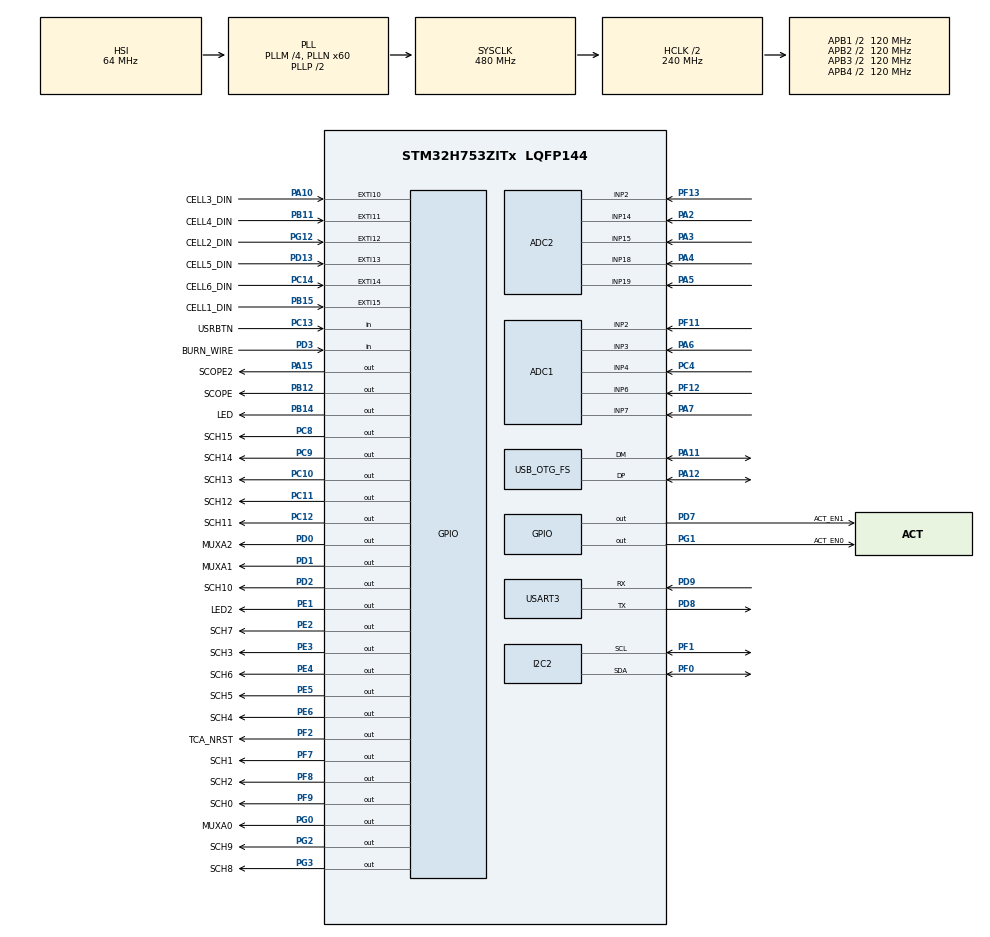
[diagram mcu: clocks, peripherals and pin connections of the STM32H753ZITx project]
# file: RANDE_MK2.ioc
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ADC1.Channel-5\#ChannelRegularConversion=ADC_CHANNEL_2
ADC1.Channel-6\#ChannelRegularConversion=ADC_CHANNEL_3
ADC1.Channel-7\#ChannelRegularConversion=ADC_CHANNEL_4
ADC1.Channel-8\#ChannelRegularConversion=ADC_CHANNEL_6
ADC1.Channel-9\#ChannelRegularConversion=ADC_CHANNEL_7
ADC1.ContinuousConvMode=ENABLE
ADC1.ConversionDataManagement=ADC_CONVERSIONDATA_DMA_CIRCULAR
ADC1.EOCSelection=ADC_EOC_SEQ_CONV
ADC1.NbrOfConversion=5
ADC1.NbrOfConversionFlag=1
ADC1.OffsetNumber-5\#ChannelRegularConversion=ADC_OFFSET_NONE
ADC1.OffsetNumber-6\#ChannelRegularConversion=ADC_OFFSET_NONE
ADC1.OffsetNumber-7\#ChannelRegularConversion=ADC_OFFSET_NONE
ADC1.OffsetNumber-8\#ChannelRegularConversion=ADC_OFFSET_NONE
ADC1.OffsetNumber-9\#ChannelRegularConversion=ADC_OFFSET_NONE
ADC1.OffsetSignedSaturation-5\#ChannelRegularConversion=DISABLE
ADC1.OffsetSignedSaturation-6\#ChannelRegularConversion=DISABLE
ADC1.OffsetSignedSaturation-7\#ChannelRegularConversion=DISABLE
ADC1.OffsetSignedSaturation-8\#ChannelRegularConversion=DISABLE
ADC1.OffsetSignedSaturation-9\#ChannelRegularConversion=DISABLE
ADC1.Rank-5\#ChannelRegularConversion=1
ADC1.Rank-6\#ChannelRegularConversion=2
ADC1.Rank-7\#ChannelRegularConversion=3
ADC1.Rank-8\#ChannelRegularConversion=4
ADC1.Rank-9\#ChannelRegularConversion=5
ADC1.SamplingTime-5\#ChannelRegularConversion=ADC_SAMPLETIME_810CYCLES_5
ADC1.SamplingTime-6\#ChannelRegularConversion=ADC_SAMPLETIME_810CYCLES_5
ADC1.SamplingTime-7\#ChannelRegularConversion=ADC_SAMPLETIME_810CYCLES_5
ADC1.SamplingTime-8\#ChannelRegularConversion=ADC_SAMPLETIME_810CYCLES_5
ADC1.SamplingTime-9\#ChannelRegularConversion=ADC_SAMPLETIME_810CYCLES_5
ADC1.master=1
ADC2.Channel-1\#ChannelRegularConversion=ADC_CHANNEL_2
ADC2.Channel-2\#ChannelRegularConversion=ADC_CHANNEL_14
ADC2.Channel-3\#ChannelRegularConversion=ADC_CHANNEL_15
ADC2.Channel-4\#ChannelRegularConversion=ADC_CHANNEL_18
ADC2.Channel-5\#ChannelRegularConversion=ADC_CHANNEL_19
ADC2.ClockPrescaler=ADC_CLOCK_ASYNC_DIV1
ADC2.ContinuousConvMode=ENABLE
ADC2.ConversionDataManagement=ADC_CONVERSIONDATA_DMA_CIRCULAR
ADC2.EOCSelection=ADC_EOC_SEQ_CONV
ADC2.NbrOfConversion=5
ADC2.NbrOfConversionFlag=1
ADC2.OffsetNumber-1\#ChannelRegularConversion=ADC_OFFSET_NONE
ADC2.OffsetNumber-2\#ChannelRegularConversion=ADC_OFFSET_NONE
ADC2.OffsetNumber-3\#ChannelRegularConversion=ADC_OFFSET_NONE
ADC2.OffsetNumber-4\#ChannelRegularConversion=ADC_OFFSET_NONE
ADC2.OffsetNumber-5\#ChannelRegularConversion=ADC_OFFSET_NONE
ADC2.OffsetSignedSaturation-1\#ChannelRegularConversion=DISABLE
ADC2.OffsetSignedSaturation-2\#ChannelRegularConversion=DISABLE
ADC2.OffsetSignedSaturation-3\#ChannelRegularConversion=DISABLE
ADC2.OffsetSignedSaturation-4\#ChannelRegularConversion=DISABLE
ADC2.OffsetSignedSaturation-5\#ChannelRegularConversion=DISABLE
ADC2.Rank-1\#ChannelRegularConversion=1
ADC2.Rank-2\#ChannelRegularConversion=2
ADC2.Rank-3\#ChannelRegularConversion=3
ADC2.Rank-4\#ChannelRegularConversion=4
ADC2.Rank-5\#ChannelRegularConversion=5
ADC2.SamplingTime-1\#ChannelRegularConversion=ADC_SAMPLETIME_810CYCLES_5
ADC2.SamplingTime-2\#ChannelRegularConversion=ADC_SAMPLETIME_810CYCLES_5
ADC2.SamplingTime-3\#ChannelRegularConversion=ADC_SAMPLETIME_810CYCLES_5
ADC2.SamplingTime-4\#ChannelRegularConversion=ADC_SAMPLETIME_810CYCLES_5
ADC2.SamplingTime-5\#ChannelRegularConversion=ADC_SAMPLETIME_810CYCLES_5
CORTEX_M7.AccessPermission_S-Cortex_Memory_Protection_Unit_Region1_Settings_S=MPU_REGION_FULL_ACCESS
CORTEX_M7.BaseAddress_S-Cortex_Memory_Protection_Unit_Region1_Settings_S=0x30000000
CORTEX_M7.CPU_DCache=Enabled
CORTEX_M7.CPU_ICache=Enabled
CORTEX_M7.DisableExec_S-Cortex_Memory_Protection_Unit_Region1_Settings_S=MPU_INSTRUCTION_ACCESS_DISABLE
CORTEX_M7.Enable_S-Cortex_Memory_Protection_Unit_Region1_Settings_S=MPU_REGION_ENABLE
CORTEX_M7.IsShareable_S-Cortex_Memory_Protection_Unit_Region1_Settings_S=MPU_ACCESS_SHAREABLE
CORTEX_M7.Size_S-Cortex_Memory_Protection_Unit_Region1_Settings_S=MPU_REGION_SIZE_512B
CORTEX_M7.default_mode_Activation=1
Dma.ADC1.1.Direction=DMA_PERIPH_TO_MEMORY
Dma.ADC1.1.EventEnable=DISABLE
Dma.ADC1.1.FIFOMode=DMA_FIFOMODE_DISABLE
Dma.ADC1.1.Instance=DMA1_Stream0
Dma.ADC1.1.MemDataAlignment=DMA_MDATAALIGN_WORD
Dma.ADC1.1.MemInc=DMA_MINC_ENABLE
Dma.ADC1.1.Mode=DMA_CIRCULAR
Dma.ADC1.1.PeriphDataAlignment=DMA_PDATAALIGN_WORD
Dma.ADC1.1.PeriphInc=DMA_PINC_DISABLE
Dma.ADC1.1.Polarity=HAL_DMAMUX_REQ_GEN_RISING
Dma.ADC1.1.Priority=DMA_PRIORITY_LOW
Dma.ADC1.1.RequestNumber=1
Dma.ADC1.1.SignalID=NONE
Dma.ADC1.1.SyncEnable=DISABLE
Dma.ADC1.1.SyncPolarity=HAL_DMAMUX_SYNC_NO_EVENT
Dma.ADC1.1.SyncRequestNumber=1
Dma.ADC1.1.SyncSignalID=NONE
Dma.ADC2.0.Direction=DMA_PERIPH_TO_MEMORY
Dma.ADC2.0.EventEnable=DISABLE
Dma.ADC2.0.FIFOMode=DMA_FIFOMODE_DISABLE
Dma.ADC2.0.Instance=DMA1_Stream1
Dma.ADC2.0.MemDataAlignment=DMA_MDATAALIGN_WORD
Dma.ADC2.0.MemInc=DMA_MINC_ENABLE
Dma.ADC2.0.Mode=DMA_CIRCULAR
Dma.ADC2.0.PeriphDataAlignment=DMA_PDATAALIGN_WORD
Dma.ADC2.0.PeriphInc=DMA_PINC_DISABLE
Dma.ADC2.0.Polarity=HAL_DMAMUX_REQ_GEN_RISING
Dma.ADC2.0.Priority=DMA_PRIORITY_LOW
Dma.ADC2.0.RequestNumber=1
Dma.ADC2.0.SignalID=NONE
Dma.ADC2.0.SyncEnable=DISABLE
Dma.ADC2.0.SyncPolarity=HAL_DMAMUX_SYNC_NO_EVENT
Dma.ADC2.0.SyncRequestNumber=1
Dma.ADC2.0.SyncSignalID=NONE
Dma.Request0=ADC2
Dma.Request1=ADC1
I2C2.Timing=0x307075B1
Mcu.Family=STM32H7
Mcu.Name=STM32H753ZITx
Mcu.Package=LQFP144
NVIC.DMA1_Stream0_IRQn=true\:0\:0\:false\:false\:true\:false\:true\:true
NVIC.DMA1_Stream1_IRQn=true\:0\:0\:false\:false\:true\:false\:true\:true
NVIC.EXTI15_10_IRQn=true\:0\:0\:false\:false\:true\:true\:true\:true
NVIC.OTG_FS_IRQn=true\:0\:0\:false\:false\:true\:true\:true\:true
NVIC.PriorityGroup=NVIC_PRIORITYGROUP_4
PA10.GPIO_Label=CELL3_DIN
PA10.Signal=GPXTI10
PA11.Mode=Host_Only
PA11.Signal=USB_OTG_FS_DM
PA12.Mode=Host_Only
PA12.Signal=USB_OTG_FS_DP
PA13\ (JTMS/SWDIO).Mode=Serial_Wire
PA13\ (JTMS/SWDIO).Signal=DEBUG_JTMS-SWDIO
PA14\ (JTCK/SWCLK).Mode=Serial_Wire
PA14\ (JTCK/SWCLK).Signal=DEBUG_JTCK-SWCLK
PA15\ (JTDI).GPIO_Label=SCOPE2
PA15\ (JTDI).Signal=GPIO_Output
PA2.Signal=ADCx_INP14
PA3.Signal=ADCx_INP15
PA4.Signal=ADCx_INP18
PA5.Signal=ADCx_INP19
PA6.Signal=ADCx_INP3
PA7.Signal=ADCx_INP7
PB11.GPIO_Label=CELL4_DIN
PB11.Signal=GPXTI11
PB12.GPIO_Label=SCOPE
PB12.Signal=GPIO_Output
PB14.GPIO_Label=LED
PB14.Signal=GPIO_Output
PB15.GPIO_Label=CELL1_DIN
PB15.GPIO_ModeDefaultEXTI=GPIO_MODE_IT_FALLING
PB15.Signal=GPXTI15
PC10.GPIO_Label=SCH13
PC10.Signal=GPIO_Output
PC11.GPIO_Label=SCH12
PC11.Signal=GPIO_Output
PC12.GPIO_Label=SCH11
PC12.Signal=GPIO_Output
PC13.GPIO_Label=USRBTN
PC13.Signal=GPIO_Input
PC14-OSC32_IN\ (OSC32_IN).GPIO_Label=CELL6_DIN
PC14-OSC32_IN\ (OSC32_IN).Signal=GPXTI14
PC4.Signal=ADCx_INP4
PC8.GPIO_Label=SCH15
PC8.Signal=GPIO_Output
PC9.GPIO_Label=SCH14
PC9.Signal=GPIO_Output
PD0.GPIO_Label=MUXA2
PD0.Signal=GPIO_Output
PD1.GPIO_Label=MUXA1
PD1.Signal=GPIO_Output
PD13.GPIO_Label=CELL5_DIN
PD13.Signal=GPXTI13
PD2.GPIO_Label=SCH10
PD2.Signal=GPIO_Output
PD3.GPIO_Label=BURN_WIRE
PD3.GPIO_PuPd=GPIO_PULLUP
PD3.Signal=GPIO_Input
PD7.GPIO_Label=ACT_EN1
PD7.Signal=GPIO_Output
PD8.Mode=Asynchronous
PD8.Signal=USART3_TX
PD9.Mode=Asynchronous
PD9.Signal=USART3_RX
PE1.GPIO_Label=LED2
PE1.Signal=GPIO_Output
PE2.GPIO_Label=SCH7
PE2.Signal=GPIO_Output
PE3.GPIO_Label=SCH3
PE3.Signal=GPIO_Output
PE4.GPIO_Label=SCH6
PE4.Signal=GPIO_Output
PE5.GPIO_Label=SCH5
PE5.Signal=GPIO_Output
PE6.GPIO_Label=SCH4
PE6.Signal=GPIO_Output
PF0.GPIO_Pu=GPIO_PULLUP
PF0.Mode=I2C
PF0.Signal=I2C2_SDA
PF1.GPIO_Pu=GPIO_PULLUP
PF1.Mode=I2C
PF1.Signal=I2C2_SCL
PF11.Mode=IN2-Single-Ended
PF11.Signal=ADC1_INP2
PF12.Mode=IN6-Single-Ended
PF12.Signal=ADC1_INP6
PF13.Mode=IN2-Single-Ended
PF13.Signal=ADC2_INP2
PF2.GPIO_Label=TCA_NRST
PF2.Signal=GPIO_Output
PF7.GPIO_Label=SCH1
PF7.Signal=GPIO_Output
PF8.GPIO_Label=SCH2
PF8.Signal=GPIO_Output
PF9.GPIO_Label=SCH0
PF9.Signal=GPIO_Output
PG0.GPIO_Label=MUXA0
PG0.Signal=GPIO_Output
PG1.GPIO_Label=ACT_EN0
PG1.Signal=GPIO_Output
PG12.GPIO_Label=CELL2_DIN
PG12.GPIO_ModeDefaultEXTI=GPIO_MODE_IT_FALLING
PG12.Signal=GPXTI12
PG2.GPIO_Label=SCH9
PG2.Signal=GPIO_Output
PG3.GPIO_Label=SCH8
PG3.Signal=GPIO_Output
ProjectManager.HeapSize=0x200
ProjectManager.StackSize=0x400
ProjectManager.TargetToolchain=CMake
RCC.ADCFreq_Value=100000000
RCC.APB1Freq_Value=120000000
RCC.APB2Freq_Value=120000000
RCC.APB3Freq_Value=120000000
RCC.APB4Freq_Value=120000000
RCC.CortexFreq_Value=480000000
RCC.D1PPRE=RCC_APB3_DIV2
RCC.D2PPRE1=RCC_APB1_DIV2
RCC.D2PPRE2=RCC_APB2_DIV2
RCC.D3PPRE=RCC_APB4_DIV2
RCC.DIVM1=4
RCC.DIVM2=4
RCC.DIVN1=60
RCC.DIVN2=25
RCC.DIVP2=4
RCC.DIVQ1=3
RCC.HCLKFreq_Value=240000000
RCC.HPRE=RCC_HCLK_DIV2
RCC.PLL2FRACN=0
RCC.PLLFRACN=0
RCC.SYSCLKFreq_VALUE=480000000
RCC.SYSCLKSource=RCC_SYSCLKSOURCE_PLLCLK
RCC.USBCLockSelection=RCC_USBCLKSOURCE_HSI48
RCC.USBFreq_Value=48000000
SH.ADCx_INP14.0=ADC2_INP14,IN14-Single-Ended
SH.ADCx_INP15.0=ADC2_INP15,IN15-Single-Ended
SH.ADCx_INP18.0=ADC2_INP18,IN18-Single-Ended
SH.ADCx_INP19.0=ADC2_INP19,IN19-Single-Ended
SH.ADCx_INP3.0=ADC1_INP3,IN3-Single-Ended
SH.ADCx_INP4.0=ADC1_INP4,IN4-Single-Ended
SH.ADCx_INP7.0=ADC1_INP7,IN7-Single-Ended
USART3.VirtualMode-Asynchronous=VM_ASYNC
USB_OTG_FS.VirtualMode=Host_Only
USB_OTG_FS.phy_itface=HCD_PHY_EMBEDDED
VP_MEMORYMAP_VS_MEMORYMAP.Mode=CurAppReg
board=custom

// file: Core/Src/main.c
/* USER CODE BEGIN Header */
/**
 ******************************************************************************
 * @file           : main.c
 * @brief          : Main program body
 ******************************************************************************
 * @attention
 *
 * Copyright (c) 2026 STMicroelectronics.
 * All rights reserved.
 *
 * This software is licensed under terms that can be found in the LICENSE file
 * in the root directory of this software component.
 * If no LICENSE file comes with this software, it is provided AS-IS.
 *
 ******************************************************************************
 */
/* USER CODE END Header */
#include "main.h"

/* USER CODE BEGIN Includes */
#include "tusb.h"
/* USER CODE END Includes */

/* USER CODE BEGIN PD */
#include <stdio.h>
/* USER CODE END PD */

ADC_HandleTypeDef hadc1;
ADC_HandleTypeDef hadc2;
DMA_HandleTypeDef hdma_adc1;
DMA_HandleTypeDef hdma_adc2;

I2C_HandleTypeDef hi2c2;

UART_HandleTypeDef huart3;

HCD_HandleTypeDef hhcd_USB_OTG_FS;

void SystemClock_Config(void);
void PeriphCommonClock_Config(void);
static void MPU_Config(void);
static void MX_GPIO_Init(void);
static void MX_DMA_Init(void);
static void MX_ADC1_Init(void);
static void MX_ADC2_Init(void);
static void MX_USART3_UART_Init(void);
static void MX_USB_OTG_FS_HCD_Init(void);
static void MX_I2C2_Init(void);

/* USER CODE BEGIN 0 */
// Redirect printf to the stlink uart for debugging
int __io_putchar(int cha) {
    uint8_t ch = cha;
    HAL_UART_Transmit(&huart3, &ch, 1, HAL_MAX_DELAY);
    return cha;
}
/* USER CODE END 0 */

int main(void) {

    /* MPU Configuration--------------------------------------------------------*/
    MPU_Config();

    /* Enable the CPU Cache */

    /* Enable I-Cache---------------------------------------------------------*/
    SCB_EnableICache();

    /* Enable D-Cache---------------------------------------------------------*/
    SCB_EnableDCache();

    /* MCU Configuration--------------------------------------------------------*/

    /* Reset of all peripherals, Initializes the Flash interface and the Systick. */
    HAL_Init();

    /* Configure the system clock */
    SystemClock_Config();

    /* Configure the peripherals common clocks */
    PeriphCommonClock_Config();

    /* Initialize all configured peripherals */
    MX_GPIO_Init();
    MX_DMA_Init();
    MX_ADC1_Init();
    MX_ADC2_Init();
    MX_USART3_UART_Init();
    MX_USB_OTG_FS_HCD_Init();
    MX_I2C2_Init();
    /* USER CODE BEGIN 2 */

    // Call the setup and loop functions in main.cpp to transition out of C and into the cpp environment
    setup();
    while(1) loop();
    /* USER CODE END 2 */

    /* Infinite loop */
    while(1) {

    }
}

void SystemClock_Config(void) {
    RCC_OscInitTypeDef RCC_OscInitStruct = {0};
    RCC_ClkInitTypeDef RCC_ClkInitStruct = {0};

    /** Supply configuration update enable
     */
    HAL_PWREx_ConfigSupply(PWR_LDO_SUPPLY);

    /** Configure the main internal regulator output voltage
     */
    __HAL_PWR_VOLTAGESCALING_CONFIG(PWR_REGULATOR_VOLTAGE_SCALE0);

    while(!__HAL_PWR_GET_FLAG(PWR_FLAG_VOSRDY)) {}

    /** Initializes the RCC Oscillators according to the specified parameters
     * in the RCC_OscInitTypeDef structure.
     */
    RCC_OscInitStruct.OscillatorType = RCC_OSCILLATORTYPE_HSI48 | RCC_OSCILLATORTYPE_HSI;
    RCC_OscInitStruct.HSIState = RCC_HSI_DIV1;
    RCC_OscInitStruct.HSICalibrationValue = RCC_HSICALIBRATION_DEFAULT;
    RCC_OscInitStruct.HSI48State = RCC_HSI48_ON;
    RCC_OscInitStruct.PLL.PLLState = RCC_PLL_ON;
    RCC_OscInitStruct.PLL.PLLSource = RCC_PLLSOURCE_HSI;
    RCC_OscInitStruct.PLL.PLLM = 4;
    RCC_OscInitStruct.PLL.PLLN = 60;
    RCC_OscInitStruct.PLL.PLLP = 2;
    RCC_OscInitStruct.PLL.PLLQ = 3;
    RCC_OscInitStruct.PLL.PLLR = 2;
    RCC_OscInitStruct.PLL.PLLRGE = RCC_PLL1VCIRANGE_3;
    RCC_OscInitStruct.PLL.PLLVCOSEL = RCC_PLL1VCOWIDE;
    RCC_OscInitStruct.PLL.PLLFRACN = 0;
    if(HAL_RCC_OscConfig(&RCC_OscInitStruct) != HAL_OK) {
        Error_Handler();
    }

    /** Initializes the CPU, AHB and APB buses clocks
     */
    RCC_ClkInitStruct.ClockType = RCC_CLOCKTYPE_HCLK | RCC_CLOCKTYPE_SYSCLK | RCC_CLOCKTYPE_PCLK1 |
        RCC_CLOCKTYPE_PCLK2 | RCC_CLOCKTYPE_D3PCLK1 | RCC_CLOCKTYPE_D1PCLK1;
    RCC_ClkInitStruct.SYSCLKSource = RCC_SYSCLKSOURCE_PLLCLK;
    RCC_ClkInitStruct.SYSCLKDivider = RCC_SYSCLK_DIV1;
    RCC_ClkInitStruct.AHBCLKDivider = RCC_HCLK_DIV2;
    RCC_ClkInitStruct.APB3CLKDivider = RCC_APB3_DIV2;
    RCC_ClkInitStruct.APB1CLKDivider = RCC_APB1_DIV2;
    RCC_ClkInitStruct.APB2CLKDivider = RCC_APB2_DIV2;
    RCC_ClkInitStruct.APB4CLKDivider = RCC_APB4_DIV2;

    if(HAL_RCC_ClockConfig(&RCC_ClkInitStruct, FLASH_LATENCY_4) != HAL_OK) {
        Error_Handler();
    }
}

void PeriphCommonClock_Config(void) {
    RCC_PeriphCLKInitTypeDef PeriphClkInitStruct = {0};

    /** Initializes the peripherals clock
     */
    PeriphClkInitStruct.PeriphClockSelection = RCC_PERIPHCLK_ADC;
    PeriphClkInitStruct.PLL2.PLL2M = 4;
    PeriphClkInitStruct.PLL2.PLL2N = 25;
    PeriphClkInitStruct.PLL2.PLL2P = 4;
    PeriphClkInitStruct.PLL2.PLL2Q = 2;
    PeriphClkInitStruct.PLL2.PLL2R = 2;
    PeriphClkInitStruct.PLL2.PLL2RGE = RCC_PLL2VCIRANGE_3;
    PeriphClkInitStruct.PLL2.PLL2VCOSEL = RCC_PLL2VCOWIDE;
    PeriphClkInitStruct.PLL2.PLL2FRACN = 0;
    PeriphClkInitStruct.AdcClockSelection = RCC_ADCCLKSOURCE_PLL2;
    if(HAL_RCCEx_PeriphCLKConfig(&PeriphClkInitStruct) != HAL_OK) {
        Error_Handler();
    }
}

static void MX_ADC1_Init(void) {

    ADC_MultiModeTypeDef multimode = {0};
    ADC_ChannelConfTypeDef sConfig = {0};

    /** Common config
     */
    hadc1.Instance = ADC1;
    hadc1.Init.ClockPrescaler = ADC_CLOCK_ASYNC_DIV1;
    hadc1.Init.Resolution = ADC_RESOLUTION_16B;
    hadc1.Init.ScanConvMode = ADC_SCAN_ENABLE;
    hadc1.Init.EOCSelection = ADC_EOC_SEQ_CONV;
    hadc1.Init.LowPowerAutoWait = DISABLE;
    hadc1.Init.ContinuousConvMode = ENABLE;
    hadc1.Init.NbrOfConversion = 5;
    hadc1.Init.DiscontinuousConvMode = DISABLE;
    hadc1.Init.ExternalTrigConv = ADC_SOFTWARE_START;
    hadc1.Init.ExternalTrigConvEdge = ADC_EXTERNALTRIGCONVEDGE_NONE;
    hadc1.Init.ConversionDataManagement = ADC_CONVERSIONDATA_DMA_CIRCULAR;
    hadc1.Init.Overrun = ADC_OVR_DATA_PRESERVED;
    hadc1.Init.LeftBitShift = ADC_LEFTBITSHIFT_NONE;
    hadc1.Init.OversamplingMode = DISABLE;
    hadc1.Init.Oversampling.Ratio = 1;
    if(HAL_ADC_Init(&hadc1) != HAL_OK) {
        Error_Handler();
    }

    /** Configure the ADC multi-mode
     */
    multimode.Mode = ADC_MODE_INDEPENDENT;
    if(HAL_ADCEx_MultiModeConfigChannel(&hadc1, &multimode) != HAL_OK) {
        Error_Handler();
    }

    /** Configure Regular Channel
     */
    sConfig.Channel = ADC_CHANNEL_2;
    sConfig.Rank = ADC_REGULAR_RANK_1;
    sConfig.SamplingTime = ADC_SAMPLETIME_810CYCLES_5;
    sConfig.SingleDiff = ADC_SINGLE_ENDED;
    sConfig.OffsetNumber = ADC_OFFSET_NONE;
    sConfig.Offset = 0;
    sConfig.OffsetSignedSaturation = DISABLE;
    if(HAL_ADC_ConfigChannel(&hadc1, &sConfig) != HAL_OK) {
        Error_Handler();
    }

    /** Configure Regular Channel
     */
    sConfig.Channel = ADC_CHANNEL_3;
    sConfig.Rank = ADC_REGULAR_RANK_2;
    if(HAL_ADC_ConfigChannel(&hadc1, &sConfig) != HAL_OK) {
        Error_Handler();
    }

    /** Configure Regular Channel
     */
    sConfig.Channel = ADC_CHANNEL_4;
    sConfig.Rank = ADC_REGULAR_RANK_3;
    if(HAL_ADC_ConfigChannel(&hadc1, &sConfig) != HAL_OK) {
        Error_Handler();
    }

    /** Configure Regular Channel
     */
    sConfig.Channel = ADC_CHANNEL_6;
    sConfig.Rank = ADC_REGULAR_RANK_4;
    if(HAL_ADC_ConfigChannel(&hadc1, &sConfig) != HAL_OK) {
        Error_Handler();
    }

    /** Configure Regular Channel
     */
    sConfig.Channel = ADC_CHANNEL_7;
    sConfig.Rank = ADC_REGULAR_RANK_5;
    if(HAL_ADC_ConfigChannel(&hadc1, &sConfig) != HAL_OK) {
        Error_Handler();
    }
}

static void MX_ADC2_Init(void) {

    ADC_ChannelConfTypeDef sConfig = {0};

    /** Common config
     */
    hadc2.Instance = ADC2;
    hadc2.Init.ClockPrescaler = ADC_CLOCK_ASYNC_DIV1;
    hadc2.Init.Resolution = ADC_RESOLUTION_16B;
    hadc2.Init.ScanConvMode = ADC_SCAN_ENABLE;
    hadc2.Init.EOCSelection = ADC_EOC_SEQ_CONV;
    hadc2.Init.LowPowerAutoWait = DISABLE;
    hadc2.Init.ContinuousConvMode = ENABLE;
    hadc2.Init.NbrOfConversion = 5;
    hadc2.Init.DiscontinuousConvMode = DISABLE;
    hadc2.Init.ExternalTrigConv = ADC_SOFTWARE_START;
    hadc2.Init.ExternalTrigConvEdge = ADC_EXTERNALTRIGCONVEDGE_NONE;
    hadc2.Init.ConversionDataManagement = ADC_CONVERSIONDATA_DMA_CIRCULAR;
    hadc2.Init.Overrun = ADC_OVR_DATA_PRESERVED;
    hadc2.Init.LeftBitShift = ADC_LEFTBITSHIFT_NONE;
    hadc2.Init.OversamplingMode = DISABLE;
    hadc2.Init.Oversampling.Ratio = 1;
    if(HAL_ADC_Init(&hadc2) != HAL_OK) {
        Error_Handler();
    }

    /** Configure Regular Channel
     */
    sConfig.Channel = ADC_CHANNEL_2;
    sConfig.Rank = ADC_REGULAR_RANK_1;
    sConfig.SamplingTime = ADC_SAMPLETIME_810CYCLES_5;
    sConfig.SingleDiff = ADC_SINGLE_ENDED;
    sConfig.OffsetNumber = ADC_OFFSET_NONE;
    sConfig.Offset = 0;
    sConfig.OffsetSignedSaturation = DISABLE;
    if(HAL_ADC_ConfigChannel(&hadc2, &sConfig) != HAL_OK) {
        Error_Handler();
    }

    /** Configure Regular Channel
     */
    sConfig.Channel = ADC_CHANNEL_14;
    sConfig.Rank = ADC_REGULAR_RANK_2;
    if(HAL_ADC_ConfigChannel(&hadc2, &sConfig) != HAL_OK) {
        Error_Handler();
    }

    /** Configure Regular Channel
     */
    sConfig.Channel = ADC_CHANNEL_15;
    sConfig.Rank = ADC_REGULAR_RANK_3;
    if(HAL_ADC_ConfigChannel(&hadc2, &sConfig) != HAL_OK) {
        Error_Handler();
    }

    /** Configure Regular Channel
     */
    sConfig.Channel = ADC_CHANNEL_18;
    sConfig.Rank = ADC_REGULAR_RANK_4;
    if(HAL_ADC_ConfigChannel(&hadc2, &sConfig) != HAL_OK) {
        Error_Handler();
    }

    /** Configure Regular Channel
     */
    sConfig.Channel = ADC_CHANNEL_19;
    sConfig.Rank = ADC_REGULAR_RANK_5;
    if(HAL_ADC_ConfigChannel(&hadc2, &sConfig) != HAL_OK) {
        Error_Handler();
    }
}

static void MX_I2C2_Init(void) {

    hi2c2.Instance = I2C2;
    hi2c2.Init.Timing = 0x307075B1;
    hi2c2.Init.OwnAddress1 = 0;
    hi2c2.Init.AddressingMode = I2C_ADDRESSINGMODE_7BIT;
    hi2c2.Init.DualAddressMode = I2C_DUALADDRESS_DISABLE;
    hi2c2.Init.OwnAddress2 = 0;
    hi2c2.Init.OwnAddress2Masks = I2C_OA2_NOMASK;
    hi2c2.Init.GeneralCallMode = I2C_GENERALCALL_DISABLE;
    hi2c2.Init.NoStretchMode = I2C_NOSTRETCH_DISABLE;
    if(HAL_I2C_Init(&hi2c2) != HAL_OK) {
        Error_Handler();
    }

    /** Configure Analogue filter
     */
    if(HAL_I2CEx_ConfigAnalogFilter(&hi2c2, I2C_ANALOGFILTER_ENABLE) != HAL_OK) {
        Error_Handler();
    }

    /** Configure Digital filter
     */
    if(HAL_I2CEx_ConfigDigitalFilter(&hi2c2, 0) != HAL_OK) {
        Error_Handler();
    }
}

static void MX_USART3_UART_Init(void) {

    huart3.Instance = USART3;
    huart3.Init.BaudRate = 115200;
    huart3.Init.WordLength = UART_WORDLENGTH_8B;
    huart3.Init.StopBits = UART_STOPBITS_1;
    huart3.Init.Parity = UART_PARITY_NONE;
    huart3.Init.Mode = UART_MODE_TX_RX;
    huart3.Init.HwFlowCtl = UART_HWCONTROL_NONE;
    huart3.Init.OverSampling = UART_OVERSAMPLING_16;
    huart3.Init.OneBitSampling = UART_ONE_BIT_SAMPLE_DISABLE;
    huart3.Init.ClockPrescaler = UART_PRESCALER_DIV1;
    huart3.AdvancedInit.AdvFeatureInit = UART_ADVFEATURE_NO_INIT;
    if(HAL_UART_Init(&huart3) != HAL_OK) {
        Error_Handler();
    }
    if(HAL_UARTEx_SetTxFifoThreshold(&huart3, UART_TXFIFO_THRESHOLD_1_8) != HAL_OK) {
        Error_Handler();
    }
    if(HAL_UARTEx_SetRxFifoThreshold(&huart3, UART_RXFIFO_THRESHOLD_1_8) != HAL_OK) {
        Error_Handler();
    }
    if(HAL_UARTEx_DisableFifoMode(&huart3) != HAL_OK) {
        Error_Handler();
    }
}

static void MX_USB_OTG_FS_HCD_Init(void) {

    hhcd_USB_OTG_FS.Instance = USB_OTG_FS;
    hhcd_USB_OTG_FS.Init.Host_channels = 16;
    hhcd_USB_OTG_FS.Init.speed = HCD_SPEED_FULL;
    hhcd_USB_OTG_FS.Init.dma_enable = DISABLE;
    hhcd_USB_OTG_FS.Init.phy_itface = HCD_PHY_EMBEDDED;
    hhcd_USB_OTG_FS.Init.Sof_enable = DISABLE;
    if(HAL_HCD_Init(&hhcd_USB_OTG_FS) != HAL_OK) {
        Error_Handler();
    }
}

static void MX_DMA_Init(void) {

    /* DMA controller clock enable */
    __HAL_RCC_DMA1_CLK_ENABLE();

    /* DMA interrupt init */
    /* DMA1_Stream0_IRQn interrupt configuration */
    HAL_NVIC_SetPriority(DMA1_Stream0_IRQn, 0, 0);
    HAL_NVIC_EnableIRQ(DMA1_Stream0_IRQn);
    /* DMA1_Stream1_IRQn interrupt configuration */
    HAL_NVIC_SetPriority(DMA1_Stream1_IRQn, 0, 0);
    HAL_NVIC_EnableIRQ(DMA1_Stream1_IRQn);
}

static void MX_GPIO_Init(void) {
    GPIO_InitTypeDef GPIO_InitStruct = {0};
    /* USER CODE BEGIN MX_GPIO_Init_1 */
    __HAL_RCC_GPIOC_CLK_ENABLE();
    GPIO_InitStruct.Pin = GPIO_PIN_6;
    GPIO_InitStruct.Mode = GPIO_MODE_OUTPUT_PP;
    GPIO_InitStruct.Pull = GPIO_NOPULL;
    GPIO_InitStruct.Speed = GPIO_SPEED_FREQ_LOW;
    HAL_GPIO_Init(GPIOC, &GPIO_InitStruct);
    HAL_GPIO_WritePin(GPIOC, GPIO_PIN_6, GPIO_PIN_SET);

    __HAL_RCC_GPIOE_CLK_ENABLE();
    GPIO_InitStruct.Pin = GPIO_PIN_9;
    HAL_GPIO_Init(GPIOE, &GPIO_InitStruct);
    HAL_GPIO_WritePin(GPIOE, GPIO_PIN_9, GPIO_PIN_SET);
    /* USER CODE END MX_GPIO_Init_1 */

    /* GPIO Ports Clock Enable */
    __HAL_RCC_GPIOE_CLK_ENABLE();
    __HAL_RCC_GPIOC_CLK_ENABLE();
    __HAL_RCC_GPIOF_CLK_ENABLE();
    __HAL_RCC_GPIOA_CLK_ENABLE();
    __HAL_RCC_GPIOG_CLK_ENABLE();
    __HAL_RCC_GPIOB_CLK_ENABLE();
    __HAL_RCC_GPIOD_CLK_ENABLE();

    /*Configure GPIO pin Output Level */
    HAL_GPIO_WritePin(GPIOE, SCH7_Pin | SCH3_Pin | SCH6_Pin | SCH5_Pin | SCH4_Pin | LED2_Pin, GPIO_PIN_RESET);

    /*Configure GPIO pin Output Level */
    HAL_GPIO_WritePin(GPIOF, TCA_NRST_Pin | SCH1_Pin | SCH2_Pin | SCH0_Pin, GPIO_PIN_RESET);

    /*Configure GPIO pin Output Level */
    HAL_GPIO_WritePin(GPIOG, MUXA0_Pin | ACT_EN0_Pin | SCH9_Pin | SCH8_Pin, GPIO_PIN_RESET);

    /*Configure GPIO pin Output Level */
    HAL_GPIO_WritePin(GPIOB, SCOPE_Pin | LED_Pin, GPIO_PIN_RESET);

    /*Configure GPIO pin Output Level */
    HAL_GPIO_WritePin(GPIOC, SCH15_Pin | SCH14_Pin | SCH13_Pin | SCH12_Pin | SCH11_Pin, GPIO_PIN_RESET);

    /*Configure GPIO pin Output Level */
    HAL_GPIO_WritePin(SCOPE2_GPIO_Port, SCOPE2_Pin, GPIO_PIN_RESET);

    /*Configure GPIO pin Output Level */
    HAL_GPIO_WritePin(GPIOD, MUXA2_Pin | MUXA1_Pin | SCH10_Pin | ACT_EN1_Pin, GPIO_PIN_RESET);

    /*Configure GPIO pins : SCH7_Pin SCH3_Pin SCH6_Pin SCH5_Pin
                             SCH4_Pin LED2_Pin */
    GPIO_InitStruct.Pin = SCH7_Pin | SCH3_Pin | SCH6_Pin | SCH5_Pin | SCH4_Pin | LED2_Pin;
    GPIO_InitStruct.Mode = GPIO_MODE_OUTPUT_PP;
    GPIO_InitStruct.Pull = GPIO_NOPULL;
    GPIO_InitStruct.Speed = GPIO_SPEED_FREQ_LOW;
    HAL_GPIO_Init(GPIOE, &GPIO_InitStruct);

    /*Configure GPIO pin : USRBTN_Pin */
    GPIO_InitStruct.Pin = USRBTN_Pin;
    GPIO_InitStruct.Mode = GPIO_MODE_INPUT;
    GPIO_InitStruct.Pull = GPIO_NOPULL;
    HAL_GPIO_Init(USRBTN_GPIO_Port, &GPIO_InitStruct);

    /*Configure GPIO pin : CELL6_DIN_Pin */
    GPIO_InitStruct.Pin = CELL6_DIN_Pin;
    GPIO_InitStruct.Mode = GPIO_MODE_IT_RISING;
    GPIO_InitStruct.Pull = GPIO_NOPULL;
    HAL_GPIO_Init(CELL6_DIN_GPIO_Port, &GPIO_InitStruct);

    /*Configure GPIO pins : TCA_NRST_Pin SCH1_Pin SCH2_Pin SCH0_Pin */
    GPIO_InitStruct.Pin = TCA_NRST_Pin | SCH1_Pin | SCH2_Pin | SCH0_Pin;
    GPIO_InitStruct.Mode = GPIO_MODE_OUTPUT_PP;
    GPIO_InitStruct.Pull = GPIO_NOPULL;
    GPIO_InitStruct.Speed = GPIO_SPEED_FREQ_LOW;
    HAL_GPIO_Init(GPIOF, &GPIO_InitStruct);

    /*Configure GPIO pins : MUXA0_Pin ACT_EN0_Pin SCH9_Pin SCH8_Pin */
    GPIO_InitStruct.Pin = MUXA0_Pin | ACT_EN0_Pin | SCH9_Pin | SCH8_Pin;
    GPIO_InitStruct.Mode = GPIO_MODE_OUTPUT_PP;
    GPIO_InitStruct.Pull = GPIO_NOPULL;
    GPIO_InitStruct.Speed = GPIO_SPEED_FREQ_LOW;
    HAL_GPIO_Init(GPIOG, &GPIO_InitStruct);

    /*Configure GPIO pin : CELL4_DIN_Pin */
    GPIO_InitStruct.Pin = CELL4_DIN_Pin;
    GPIO_InitStruct.Mode = GPIO_MODE_IT_RISING;
    GPIO_InitStruct.Pull = GPIO_NOPULL;
    HAL_GPIO_Init(CELL4_DIN_GPIO_Port, &GPIO_InitStruct);

    /*Configure GPIO pins : SCOPE_Pin LED_Pin */
    GPIO_InitStruct.Pin = SCOPE_Pin | LED_Pin;
    GPIO_InitStruct.Mode = GPIO_MODE_OUTPUT_PP;
    GPIO_InitStruct.Pull = GPIO_NOPULL;
    GPIO_InitStruct.Speed = GPIO_SPEED_FREQ_LOW;
    HAL_GPIO_Init(GPIOB, &GPIO_InitStruct);

    /*Configure GPIO pin : CELL1_DIN_Pin */
    GPIO_InitStruct.Pin = CELL1_DIN_Pin;
    GPIO_InitStruct.Mode = GPIO_MODE_IT_FALLING;
    GPIO_InitStruct.Pull = GPIO_NOPULL;
    HAL_GPIO_Init(CELL1_DIN_GPIO_Port, &GPIO_InitStruct);

    /*Configure GPIO pin : CELL5_DIN_Pin */
    GPIO_InitStruct.Pin = CELL5_DIN_Pin;
    GPIO_InitStruct.Mode = GPIO_MODE_IT_RISING;
    GPIO_InitStruct.Pull = GPIO_NOPULL;
    HAL_GPIO_Init(CELL5_DIN_GPIO_Port, &GPIO_InitStruct);

    /*Configure GPIO pins : SCH15_Pin SCH14_Pin SCH13_Pin SCH12_Pin
                             SCH11_Pin */
    GPIO_InitStruct.Pin = SCH15_Pin | SCH14_Pin | SCH13_Pin | SCH12_Pin | SCH11_Pin;
    GPIO_InitStruct.Mode = GPIO_MODE_OUTPUT_PP;
    GPIO_InitStruct.Pull = GPIO_NOPULL;
    GPIO_InitStruct.Speed = GPIO_SPEED_FREQ_LOW;
    HAL_GPIO_Init(GPIOC, &GPIO_InitStruct);

    /*Configure GPIO pin : CELL3_DIN_Pin */
    GPIO_InitStruct.Pin = CELL3_DIN_Pin;
    GPIO_InitStruct.Mode = GPIO_MODE_IT_RISING;
    GPIO_InitStruct.Pull = GPIO_NOPULL;
    HAL_GPIO_Init(CELL3_DIN_GPIO_Port, &GPIO_InitStruct);

    /*Configure GPIO pin : SCOPE2_Pin */
    GPIO_InitStruct.Pin = SCOPE2_Pin;
    GPIO_InitStruct.Mode = GPIO_MODE_OUTPUT_PP;
    GPIO_InitStruct.Pull = GPIO_NOPULL;
    GPIO_InitStruct.Speed = GPIO_SPEED_FREQ_LOW;
    HAL_GPIO_Init(SCOPE2_GPIO_Port, &GPIO_InitStruct);

    /*Configure GPIO pins : MUXA2_Pin MUXA1_Pin SCH10_Pin ACT_EN1_Pin */
    GPIO_InitStruct.Pin = MUXA2_Pin | MUXA1_Pin | SCH10_Pin | ACT_EN1_Pin;
    GPIO_InitStruct.Mode = GPIO_MODE_OUTPUT_PP;
    GPIO_InitStruct.Pull = GPIO_NOPULL;
    GPIO_InitStruct.Speed = GPIO_SPEED_FREQ_LOW;
    HAL_GPIO_Init(GPIOD, &GPIO_InitStruct);

    /*Configure GPIO pin : BURN_WIRE_Pin */
    GPIO_InitStruct.Pin = BURN_WIRE_Pin;
    GPIO_InitStruct.Mode = GPIO_MODE_INPUT;
    GPIO_InitStruct.Pull = GPIO_PULLUP;
    HAL_GPIO_Init(BURN_WIRE_GPIO_Port, &GPIO_InitStruct);

    /*Configure GPIO pin : CELL2_DIN_Pin */
    GPIO_InitStruct.Pin = CELL2_DIN_Pin;
    GPIO_InitStruct.Mode = GPIO_MODE_IT_FALLING;
    GPIO_InitStruct.Pull = GPIO_NOPULL;
    HAL_GPIO_Init(CELL2_DIN_GPIO_Port, &GPIO_InitStruct);

    /* EXTI interrupt init*/
    HAL_NVIC_SetPriority(CELL3_DIN_EXTI_IRQn, 0, 0);
    HAL_NVIC_EnableIRQ(CELL3_DIN_EXTI_IRQn);

}

/* MPU Configuration */

void MPU_Config(void) {
    MPU_Region_InitTypeDef MPU_InitStruct = {0};

    /* Disables the MPU */
    HAL_MPU_Disable();

    /** Initializes and configures the Region and the memory to be protected
     */
    MPU_InitStruct.Enable = MPU_REGION_ENABLE;
    MPU_InitStruct.Number = MPU_REGION_NUMBER0;
    MPU_InitStruct.BaseAddress = 0x0;
    MPU_InitStruct.Size = MPU_REGION_SIZE_4GB;
    MPU_InitStruct.SubRegionDisable = 0x87;
    MPU_InitStruct.TypeExtField = MPU_TEX_LEVEL0;
    MPU_InitStruct.AccessPermission = MPU_REGION_NO_ACCESS;
    MPU_InitStruct.DisableExec = MPU_INSTRUCTION_ACCESS_DISABLE;
    MPU_InitStruct.IsShareable = MPU_ACCESS_SHAREABLE;
    MPU_InitStruct.IsCacheable = MPU_ACCESS_NOT_CACHEABLE;
    MPU_InitStruct.IsBufferable = MPU_ACCESS_NOT_BUFFERABLE;

    HAL_MPU_ConfigRegion(&MPU_InitStruct);

    /** Initializes and configures the Region and the memory to be protected
     */
    MPU_InitStruct.Number = MPU_REGION_NUMBER1;
    MPU_InitStruct.BaseAddress = 0x30000000;
    MPU_InitStruct.Size = MPU_REGION_SIZE_512B;
    MPU_InitStruct.SubRegionDisable = 0x0;
    MPU_InitStruct.AccessPermission = MPU_REGION_FULL_ACCESS;

    HAL_MPU_ConfigRegion(&MPU_InitStruct);
    /* Enables the MPU */
    HAL_MPU_Enable(MPU_PRIVILEGED_DEFAULT);
}

void Error_Handler(void) {
    __disable_irq();
    while(1) {}
}
